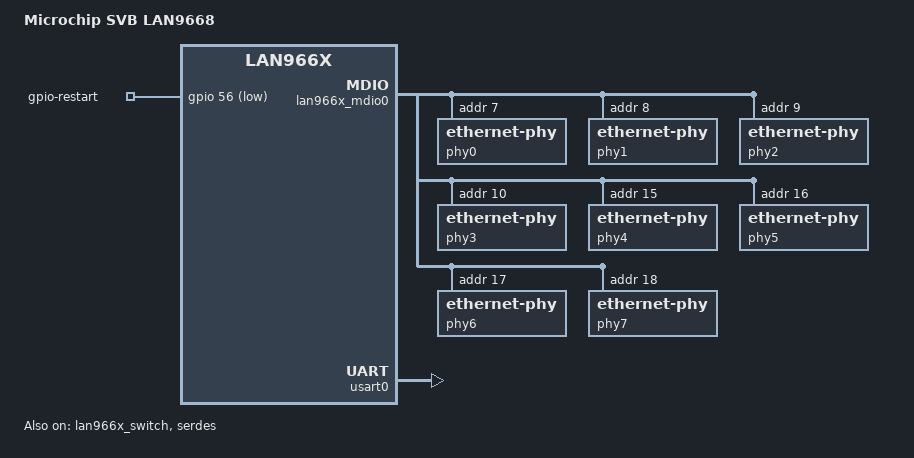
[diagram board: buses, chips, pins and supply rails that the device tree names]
// SPDX-License-Identifier: (GPL-2.0+ OR MIT)
/*
 * lan966x_pcb8290.dts - Device Tree file for PCB8290
 */
/dts-v1/;
#include "lan9668_hsio_mode_0.dtsi"

/ {
	model = "Microchip SVB LAN9668";
	compatible = "microchip,lan966x-sunrise", "microchip,lan966x";

	gpio-restart {
		compatible = "gpio-restart";
		gpios = <&gpio 56 GPIO_ACTIVE_LOW>;
		priority = <200>;
	};
};

&phy_reset {
	external-phy-reset-gpios = <&gpio 53 GPIO_ACTIVE_LOW>;
};

&lan966x_mdio0 {
	status = "okay";

	phy0: ethernet-phy@7 {
		reg = <7>;
	};

	phy1: ethernet-phy@8 {
		reg = <8>;
	};

	phy2: ethernet-phy@9 {
		reg = <9>;
	};

	phy3: ethernet-phy@10 {
		reg = <10>;
	};

	phy4: ethernet-phy@15 {
		reg = <15>;
	};

	phy5: ethernet-phy@16 {
		reg = <16>;
	};

	phy6: ethernet-phy@17 {
		reg = <17>;
	};

	phy7: ethernet-phy@18 {
		reg = <18>;
	};
};

&lan966x_switch {
	status = "okay";
};

&serdes {
	status = "okay";
};

&port0 {
	status = "okay";
	phy-handle = <&phy0>;

	#address-cells = <1>;
	#size-cells = <0>;
};

&port1 {
	status = "okay";
	phy-handle = <&phy1>;

	#address-cells = <1>;
	#size-cells = <0>;
};

&port2 {
	status = "okay";
	phy-handle = <&phy2>;

	#address-cells = <1>;
	#size-cells = <0>;
};

&port3 {
	status = "okay";
	phy-handle = <&phy3>;

	#address-cells = <1>;
	#size-cells = <0>;
};

&port4 {
	status = "okay";
	phy-handle = <&phy4>;

	#address-cells = <1>;
	#size-cells = <0>;
};

&port5 {
	status = "okay";
	phy-handle = <&phy5>;

	#address-cells = <1>;
	#size-cells = <0>;
};

&port6 {
	status = "okay";
	phy-handle = <&phy6>;

	#address-cells = <1>;
	#size-cells = <0>;
};

&port7 {
	status = "okay";
	phy-handle = <&phy7>;

	#address-cells = <1>;
	#size-cells = <0>;
};

&apb {
	usart0: usb_uart@e0808000 {
		compatible = "microchip,lan966x-serial";
		reg = <0xe0808000 0x400>,
		      <0x00200000 0x80000>;
		reg-names = "udphs", "interface_ept";
		interrupts = <GIC_SPI 76 IRQ_TYPE_LEVEL_HIGH>;
		clocks = <&clks GCK_GATE_UDPHS>;
		status = "okay";
	};
};

